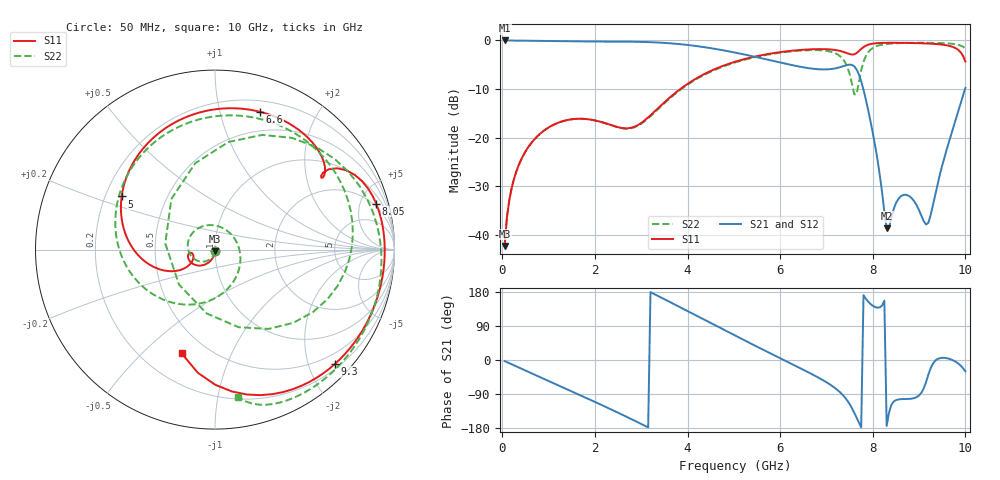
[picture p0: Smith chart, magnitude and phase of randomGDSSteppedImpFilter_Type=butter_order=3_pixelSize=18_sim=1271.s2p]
! freq	dB(S11)	phase(S11)	dB(S12)	phase(S12)
!  dB(S21)	phase(S21)	dB(S22)	phase(S22)
!S-par simulation data
#  GHz  S  DB  R 50
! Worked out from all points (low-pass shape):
!   200 points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, 50 MHz to 10 GHz, reference 50 ohm
!   highest |S21| = -0.01 dB at 50 MHz (marker M1); lowest = -38.6 dB at 8.3 GHz (marker M2)
!   |S21| within 3 dB of the highest: start of sweep to 5.284 GHz
!   lowest |S11| = -42.3 dB at 50 MHz (marker M3), VSWR 1.02, Z = 50 - j0.77 ohm
!   |S11| at or under -10 dB: start of sweep to 3.842 GHz
!   |S22| runs from -42.3 to -0.5 dB; largest |S21 - S12| = 0
!   S11 on the Smith chart (normalised r, x): 50 MHz: 1.00, -0.02; 5 GHz: 0.27, +0.25; 6.6 GHz: 0.30, +1.33; 8.05 GHz: 1.68, +6.74; 9.3 GHz: 0.29, -2.47; 10 GHz: 0.36, -0.66
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0.05  -42.27 -90.9  -0.01 -2.8  -0.01 -2.8  -42.29 -92.0
0.2  -30.45 -99.1  -0.02 -11.2  -0.02 -11.2  -30.47 -102.9
0.5  -22.84 -113.5  -0.06 -27.8  -0.06 -27.8  -22.85 -123.0
1.75  -16.11 -163.7  -0.22 -96.6  -0.22 -96.6  -16.11 148.8
2.7  -18.06 -164.7  -0.25 -150.8  -0.25 -150.8  -18.14 42.1
3.4  -13.60 -148.8  -0.45 166.7  -0.45 166.7  -13.80 -59.3
4.2  -7.75 -172.7  -1.16 116.3  -1.16 116.3  -7.92 -136.3
5  -4.46 150.3  -2.44 66.0  -2.44 66.0  -4.61 160.2
5.05  -4.31 147.9  -2.54 62.9  -2.54 62.9  -4.46 156.4
5.9  -2.54 106.2  -4.32 10.8  -4.32 10.8  -2.66 94.1
6.6  -1.85 71.9  -5.68 -31.9  -5.68 -31.9  -2.01 43.8
6.7  -1.81 67.1  -5.81 -38.2  -5.81 -38.2  -1.99 36.3
7.25  -2.06 41.1  -5.62 -80.4  -5.62 -80.4  -2.94 -16.4
7.5  -2.81 33.8  -4.97 -116.3  -4.97 -116.3  -6.89 -73.0
7.65  -2.61 35.5  -5.96 -152.1  -5.96 -152.1  -11.08 173.0
7.8  -1.37 31.2  -10.16 171.2  -10.16 171.2  -4.38 82.9
8.05  -0.59 15.9  -21.59 139.8  -21.59 139.8  -1.30 30.0
8.3  -0.49 2.8  -38.59 -174.2  -38.59 -174.2  -0.73 4.5
8.35  -0.48 0.4  -38.56 -139.0  -38.56 -139.0  -0.68 0.7
8.65  -0.50 -13.5  -31.79 -103.1  -31.79 -103.1  -0.53 -18.6
9.3  -0.69 -43.6  -33.80 -9.3  -33.80 -9.3  -0.50 -49.6
10  -4.33 -107.8  -9.74 -30.0  -9.74 -30.0  -1.61 -81.0
